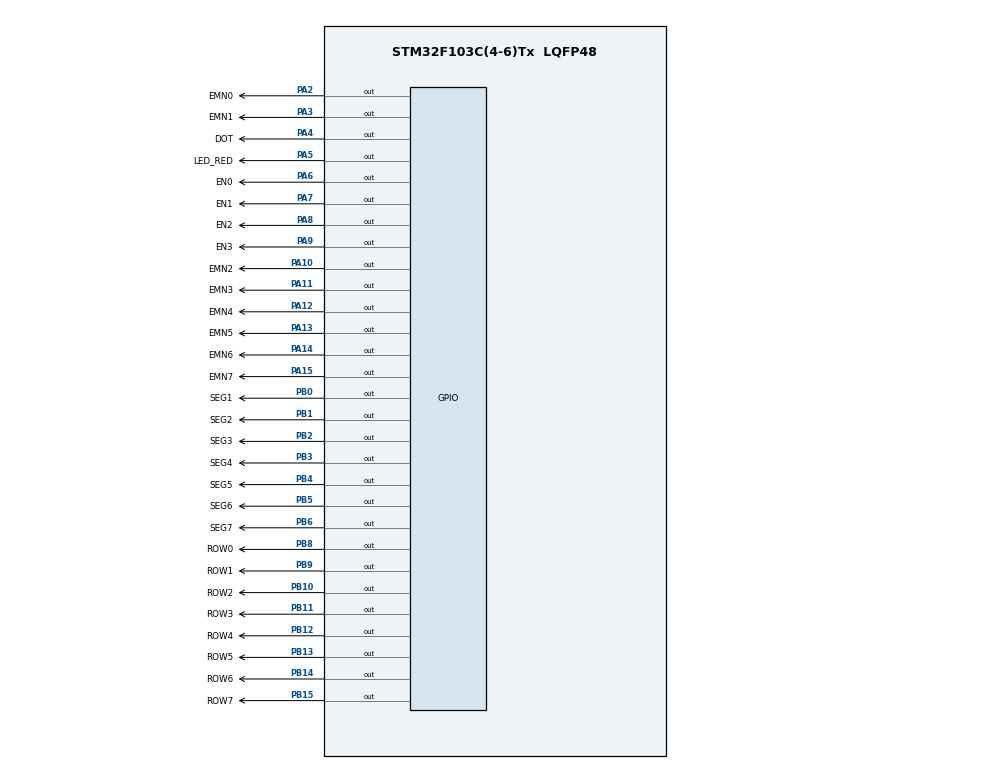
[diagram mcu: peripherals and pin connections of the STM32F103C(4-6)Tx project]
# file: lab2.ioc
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Mcu.Family=STM32F1
Mcu.Name=STM32F103C(4-6)Tx
Mcu.Package=LQFP48
NVIC.PriorityGroup=NVIC_PRIORITYGROUP_4
NVIC.TIM2_IRQn=true\:0\:0\:false\:false\:true\:true\:true\:true
PA10.GPIO_Label=EMN2
PA10.Signal=GPIO_Output
PA11.GPIO_Label=EMN3
PA11.Signal=GPIO_Output
PA12.GPIO_Label=EMN4
PA12.Signal=GPIO_Output
PA13.GPIO_Label=EMN5
PA13.Signal=GPIO_Output
PA14.GPIO_Label=EMN6
PA14.Signal=GPIO_Output
PA15.GPIO_Label=EMN7
PA15.Signal=GPIO_Output
PA2.GPIO_Label=EMN0
PA2.Signal=GPIO_Output
PA3.GPIO_Label=EMN1
PA3.Signal=GPIO_Output
PA4.GPIO_Label=DOT
PA4.Signal=GPIO_Output
PA5.GPIO_Label=LED_RED
PA5.Signal=GPIO_Output
PA6.GPIO_Label=EN0
PA6.Signal=GPIO_Output
PA7.GPIO_Label=EN1
PA7.Signal=GPIO_Output
PA8.GPIO_Label=EN2
PA8.Signal=GPIO_Output
PA9.GPIO_Label=EN3
PA9.Signal=GPIO_Output
PB0.GPIO_Label=SEG1
PB0.Signal=GPIO_Output
PB1.GPIO_Label=SEG2
PB1.Signal=GPIO_Output
PB10.GPIO_Label=ROW2
PB10.Signal=GPIO_Output
PB11.GPIO_Label=ROW3
PB11.Signal=GPIO_Output
PB12.GPIO_Label=ROW4
PB12.Signal=GPIO_Output
PB13.GPIO_Label=ROW5
PB13.Signal=GPIO_Output
PB14.GPIO_Label=ROW6
PB14.Signal=GPIO_Output
PB15.GPIO_Label=ROW7
PB15.Signal=GPIO_Output
PB2.GPIO_Label=SEG3
PB2.Signal=GPIO_Output
PB3.GPIO_Label=SEG4
PB3.Signal=GPIO_Output
PB4.GPIO_Label=SEG5
PB4.Signal=GPIO_Output
PB5.GPIO_Label=SEG6
PB5.Signal=GPIO_Output
PB6.GPIO_Label=SEG7
PB6.Signal=GPIO_Output
PB8.GPIO_Label=ROW0
PB8.Signal=GPIO_Output
PB9.GPIO_Label=ROW1
PB9.Signal=GPIO_Output
ProjectManager.HeapSize=0x200
ProjectManager.StackSize=0x400
ProjectManager.TargetToolchain=STM32CubeIDE
RCC.APB1Freq_Value=8000000
RCC.APB2Freq_Value=8000000
TIM1.Prescaler=7999
TIM2.Period=9
TIM2.Prescaler=7999
VP_SYS_VS_ND.Mode=No_Debug
VP_TIM1_VS_ClockSourceINT.Mode=Internal
VP_TIM2_VS_ClockSourceINT.Mode=Internal
board=custom

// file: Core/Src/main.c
/* USER CODE BEGIN Header */
/**
  ******************************************************************************
  * @file           : main.c
  * @brief          : Main program body
  ******************************************************************************
  * @attention
  *
  * Copyright (c) 2025 STMicroelectronics.
  * All rights reserved.
  *
  * This software is licensed under terms that can be found in the LICENSE file
  * in the root directory of this software component.
  * If no LICENSE file comes with this software, it is provided AS-IS.
  *
  ******************************************************************************
  */
/* USER CODE END Header */
#include "main.h"

/* USER CODE BEGIN Includes */
#include "exercise1.h"
#include "TimerSoftware.h"
/* USER CODE END Includes */

TIM_HandleTypeDef htim1;
TIM_HandleTypeDef htim2;

void SystemClock_Config(void);
static void MX_GPIO_Init(void);
static void MX_TIM2_Init(void);
static void MX_TIM1_Init(void);

int main(void)
{

  /* MCU Configuration--------------------------------------------------------*/

  /* Reset of all peripherals, Initializes the Flash interface and the Systick. */
  HAL_Init();

  /* Configure the system clock */
  SystemClock_Config();

  /* Initialize all configured peripherals */
  MX_GPIO_Init();
  MX_TIM2_Init();
  MX_TIM1_Init();
  /* USER CODE BEGIN 2 */
  HAL_TIM_Base_Start_IT(&htim2);
  set_timer(0, 100);
  set_timer(1, 25);
  int index = 0;
  /* USER CODE END 2 */

  /* Infinite loop */
  while (1)
  {

    /* USER CODE BEGIN 3 */
	if (reg_flag[0] == 1) {
		HAL_GPIO_TogglePin(LED_RED_GPIO_Port, LED_RED_Pin);
		HAL_GPIO_TogglePin(DOT_GPIO_Port, DOT_Pin);
		set_timer(0, 100);
	}

	else if (reg_flag[1] == 1){
		update7SEG((index++) % 4);
		set_timer(1, 25);
	}

  }
  /* USER CODE END 3 */
}

void SystemClock_Config(void)
{
  RCC_OscInitTypeDef RCC_OscInitStruct = {0};
  RCC_ClkInitTypeDef RCC_ClkInitStruct = {0};

  /** Initializes the RCC Oscillators according to the specified parameters
  * in the RCC_OscInitTypeDef structure.
  */
  RCC_OscInitStruct.OscillatorType = RCC_OSCILLATORTYPE_HSI;
  RCC_OscInitStruct.HSIState = RCC_HSI_ON;
  RCC_OscInitStruct.HSICalibrationValue = RCC_HSICALIBRATION_DEFAULT;
  RCC_OscInitStruct.PLL.PLLState = RCC_PLL_NONE;
  if (HAL_RCC_OscConfig(&RCC_OscInitStruct) != HAL_OK)
  {
    Error_Handler();
  }

  /** Initializes the CPU, AHB and APB buses clocks
  */
  RCC_ClkInitStruct.ClockType = RCC_CLOCKTYPE_HCLK|RCC_CLOCKTYPE_SYSCLK
                              |RCC_CLOCKTYPE_PCLK1|RCC_CLOCKTYPE_PCLK2;
  RCC_ClkInitStruct.SYSCLKSource = RCC_SYSCLKSOURCE_HSI;
  RCC_ClkInitStruct.AHBCLKDivider = RCC_SYSCLK_DIV1;
  RCC_ClkInitStruct.APB1CLKDivider = RCC_HCLK_DIV1;
  RCC_ClkInitStruct.APB2CLKDivider = RCC_HCLK_DIV1;

  if (HAL_RCC_ClockConfig(&RCC_ClkInitStruct, FLASH_LATENCY_0) != HAL_OK)
  {
    Error_Handler();
  }
}

static void MX_TIM1_Init(void)
{

  TIM_ClockConfigTypeDef sClockSourceConfig = {0};
  TIM_MasterConfigTypeDef sMasterConfig = {0};

  htim1.Instance = TIM1;
  htim1.Init.Prescaler = 7999;
  htim1.Init.CounterMode = TIM_COUNTERMODE_UP;
  htim1.Init.Period = 65535;
  htim1.Init.ClockDivision = TIM_CLOCKDIVISION_DIV1;
  htim1.Init.RepetitionCounter = 0;
  htim1.Init.AutoReloadPreload = TIM_AUTORELOAD_PRELOAD_DISABLE;
  if (HAL_TIM_Base_Init(&htim1) != HAL_OK)
  {
    Error_Handler();
  }
  sClockSourceConfig.ClockSource = TIM_CLOCKSOURCE_INTERNAL;
  if (HAL_TIM_ConfigClockSource(&htim1, &sClockSourceConfig) != HAL_OK)
  {
    Error_Handler();
  }
  sMasterConfig.MasterOutputTrigger = TIM_TRGO_RESET;
  sMasterConfig.MasterSlaveMode = TIM_MASTERSLAVEMODE_DISABLE;
  if (HAL_TIMEx_MasterConfigSynchronization(&htim1, &sMasterConfig) != HAL_OK)
  {
    Error_Handler();
  }

}

static void MX_TIM2_Init(void)
{

  TIM_ClockConfigTypeDef sClockSourceConfig = {0};
  TIM_MasterConfigTypeDef sMasterConfig = {0};

  htim2.Instance = TIM2;
  htim2.Init.Prescaler = 7999;
  htim2.Init.CounterMode = TIM_COUNTERMODE_UP;
  htim2.Init.Period = 9;
  htim2.Init.ClockDivision = TIM_CLOCKDIVISION_DIV1;
  htim2.Init.AutoReloadPreload = TIM_AUTORELOAD_PRELOAD_DISABLE;
  if (HAL_TIM_Base_Init(&htim2) != HAL_OK)
  {
    Error_Handler();
  }
  sClockSourceConfig.ClockSource = TIM_CLOCKSOURCE_INTERNAL;
  if (HAL_TIM_ConfigClockSource(&htim2, &sClockSourceConfig) != HAL_OK)
  {
    Error_Handler();
  }
  sMasterConfig.MasterOutputTrigger = TIM_TRGO_RESET;
  sMasterConfig.MasterSlaveMode = TIM_MASTERSLAVEMODE_DISABLE;
  if (HAL_TIMEx_MasterConfigSynchronization(&htim2, &sMasterConfig) != HAL_OK)
  {
    Error_Handler();
  }

}

static void MX_GPIO_Init(void)
{
  GPIO_InitTypeDef GPIO_InitStruct = {0};

  /* GPIO Ports Clock Enable */
  __HAL_RCC_GPIOA_CLK_ENABLE();
  __HAL_RCC_GPIOB_CLK_ENABLE();

  /*Configure GPIO pin Output Level */
  HAL_GPIO_WritePin(GPIOA, DOT_Pin|LED_RED_Pin|EN0_Pin|EN1_Pin
                          |EN2_Pin|EN3_Pin, GPIO_PIN_RESET);

  /*Configure GPIO pin Output Level */
  HAL_GPIO_WritePin(GPIOB, SEG1_Pin|SEG2_Pin|SEG3_Pin|SEG4_Pin
                          |SEG5_Pin|SEG6_Pin|SEG7_Pin, GPIO_PIN_RESET);

  /*Configure GPIO pins : DOT_Pin LED_RED_Pin EN0_Pin EN1_Pin
                           EN2_Pin EN3_Pin */
  GPIO_InitStruct.Pin = DOT_Pin|LED_RED_Pin|EN0_Pin|EN1_Pin
                          |EN2_Pin|EN3_Pin;
  GPIO_InitStruct.Mode = GPIO_MODE_OUTPUT_PP;
  GPIO_InitStruct.Pull = GPIO_NOPULL;
  GPIO_InitStruct.Speed = GPIO_SPEED_FREQ_LOW;
  HAL_GPIO_Init(GPIOA, &GPIO_InitStruct);

  /*Configure GPIO pins : SEG1_Pin SEG2_Pin SEG3_Pin SEG4_Pin
                           SEG5_Pin SEG6_Pin SEG7_Pin */
  GPIO_InitStruct.Pin = SEG1_Pin|SEG2_Pin|SEG3_Pin|SEG4_Pin
                          |SEG5_Pin|SEG6_Pin|SEG7_Pin;
  GPIO_InitStruct.Mode = GPIO_MODE_OUTPUT_PP;
  GPIO_InitStruct.Pull = GPIO_NOPULL;
  GPIO_InitStruct.Speed = GPIO_SPEED_FREQ_LOW;
  HAL_GPIO_Init(GPIOB, &GPIO_InitStruct);

}

/* USER CODE BEGIN 4 */
void HAL_TIM_PeriodElapsedCallback(TIM_HandleTypeDef *htim) {
	  if (htim->Instance == htim2.Instance) {
		  run_timer();
	  }
}
/* USER CODE END 4 */

void Error_Handler(void)
{
  __disable_irq();
  while (1)
  {
  }
}
